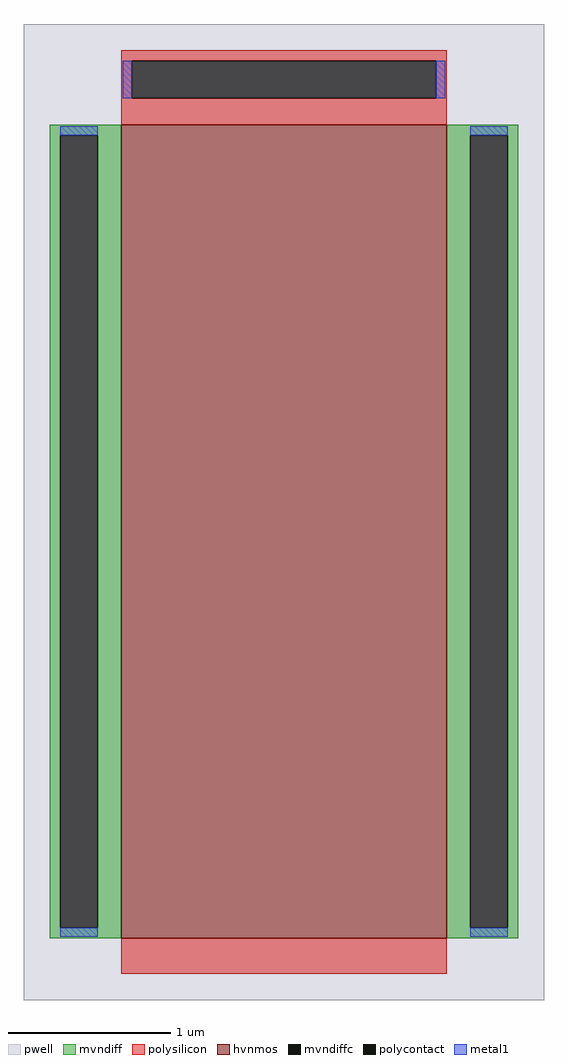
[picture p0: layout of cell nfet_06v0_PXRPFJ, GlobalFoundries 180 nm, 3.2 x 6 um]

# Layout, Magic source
magic
tech gf180mcuD
magscale 1 10
<< pwell >>
rect -320 -600 320 600
<< hvnmos >>
rect -200 -524 200 476
<< mvndiff >>
rect -288 463 -200 476
rect -288 -511 -275 463
rect -229 -511 -200 463
rect -288 -524 -200 -511
rect 200 463 288 476
rect 200 -511 229 463
rect 275 -511 288 463
rect 200 -524 288 -511
<< mvndiffc >>
rect -275 -511 -229 463
rect 229 -511 275 463
<< polysilicon >>
rect -200 555 200 568
rect -200 509 -187 555
rect 187 509 200 555
rect -200 476 200 509
rect -200 -568 200 -524
<< polycontact >>
rect -187 509 187 555
<< metal1 >>
rect -198 509 -187 555
rect 187 509 198 555
rect -275 463 -229 474
rect -275 -522 -229 -511
rect 229 463 275 474
rect 229 -522 275 -511
<< properties >>
string gencell nfet_06v0
string library gf180mcu
string parameters w 5 l 2 m 1 nf 1 diffcov 100 polycov 100 guard 0 glc 0 grc 0 gtc 0 gbc 0 tbcov 100 rlcov 100 topc 1 botc 0 poverlap 0 doverlap 1 lmin 0.7 wmin 0.3 class mosfet full_metal 0 compatible {nfet_03v3 nfet_05v0 nfet_06v0 nfet_06v0_nvt}
<< end >>
